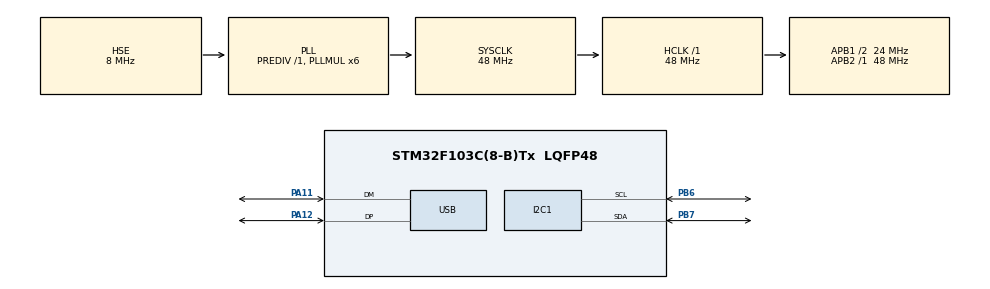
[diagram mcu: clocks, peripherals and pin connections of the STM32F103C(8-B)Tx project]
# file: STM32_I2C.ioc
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I2C1.I2C_Mode=I2C_Fast
Mcu.Family=STM32F1
Mcu.Name=STM32F103C(8-B)Tx
Mcu.Package=LQFP48
NVIC.PriorityGroup=NVIC_PRIORITYGROUP_4
NVIC.USB_LP_CAN1_RX0_IRQn=true\:0\:0\:false\:false\:true\:false\:true\:true
PA11.Mode=Device
PA11.Signal=USB_DM
PA12.Mode=Device
PA12.Signal=USB_DP
PB6.Mode=I2C
PB6.Signal=I2C1_SCL
PB7.Mode=I2C
PB7.Signal=I2C1_SDA
PD0-OSC_IN.Mode=HSE-External-Oscillator
PD0-OSC_IN.Signal=RCC_OSC_IN
PD1-OSC_OUT.Mode=HSE-External-Oscillator
PD1-OSC_OUT.Signal=RCC_OSC_OUT
ProjectManager.HeapSize=0x200
ProjectManager.StackSize=0x400
ProjectManager.TargetToolchain=STM32CubeIDE
RCC.AHBFreq_Value=48000000
RCC.APB1CLKDivider=RCC_HCLK_DIV2
RCC.APB1Freq_Value=24000000
RCC.APB1TimFreq_Value=48000000
RCC.APB2Freq_Value=48000000
RCC.APB2TimFreq_Value=48000000
RCC.HCLKFreq_Value=48000000
RCC.PLLMUL=RCC_PLL_MUL6
RCC.PLLSourceVirtual=RCC_PLLSOURCE_HSE
RCC.SYSCLKFreq_VALUE=48000000
RCC.SYSCLKSource=RCC_SYSCLKSOURCE_PLLCLK
RCC.USBFreq_Value=48000000
USB_DEVICE.CLASS_NAME_FS=CDC
USB_DEVICE.VirtualMode=Cdc
USB_DEVICE.VirtualModeFS=Cdc_FS
VP_SYS_VS_ND.Mode=No_Debug
VP_USB_DEVICE_VS_USB_DEVICE_CDC_FS.Mode=CDC_FS
board=custom

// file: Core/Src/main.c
/* USER CODE BEGIN Header */
/**
  ******************************************************************************
  * @file           : main.c
  * @brief          : Main program body
  ******************************************************************************
  * @attention
  *
  * Copyright (c) 2025 STMicroelectronics.
  * All rights reserved.
  *
  * This software is licensed under terms that can be found in the LICENSE file
  * in the root directory of this software component.
  * If no LICENSE file comes with this software, it is provided AS-IS.
  *
  ******************************************************************************
  */
/* USER CODE END Header */
#include "main.h"
#include "usb_device.h"

/* USER CODE BEGIN Includes */
#include <string.h>
#include <stdio.h>
#include <stdlib.h>
/* USER CODE END Includes */

/* USER CODE BEGIN PD */
#define slave_address 0x90 // ADDR pin -> GND -> Adres=1001000b << 1 -> 0x90
#define config_reg_address 0x01
#define conversion_reg_address 0x00
/* USER CODE END PD */

I2C_HandleTypeDef hi2c1;

void SystemClock_Config(void);
static void MX_GPIO_Init(void);
static void MX_I2C1_Init(void);

/* USER CODE BEGIN 0 */

float temperature_calc(int16_t raw) {
	float vin = (raw * 2.048) / 32768.0;
	float temp = (vin - 0.5) * 100;
	return temp;
}

float res_calc(int16_t raw) {
	float vin = (raw * 4.096) / 32768.0;
	float res = (vin / 3.3) * 10000.0;
	return res;
}
/* USER CODE END 0 */

int main(void)
{

  /* MCU Configuration--------------------------------------------------------*/

  /* Reset of all peripherals, Initializes the Flash interface and the Systick. */
  HAL_Init();

  /* Configure the system clock */
  SystemClock_Config();

  /* Initialize all configured peripherals */
  MX_GPIO_Init();
  MX_I2C1_Init();
  MX_USB_DEVICE_Init();
  /* USER CODE BEGIN 2 */
	uint8_t bufferTemp[2];
	uint8_t bufferPot[2];
	int16_t raw_temp = 0;
	int16_t raw_pot = 0;
	uint8_t a1_config[2] = {0xD5, 0x83}; // 1 101 010 1 100 00011 OS MUX PGA MODE DR COMP // AN1 2.048V Single shot
	uint8_t a3_config[2] = {0xF3, 0x83}; // 1 111 001 1 100 00011						  // AN3 4.096V Single shot
	char txt[50];

  /* USER CODE END 2 */

  /* Infinite loop */
  while (1)
  {

    /* USER CODE BEGIN 3 */

	HAL_I2C_Mem_Write(&hi2c1, slave_address, config_reg_address, I2C_MEMADD_SIZE_8BIT, a1_config, 2, HAL_TIMEOUT);
	HAL_Delay(10);
	HAL_I2C_Master_Transmit(&hi2c1, slave_address, conversion_reg_address, 1, HAL_TIMEOUT);
	HAL_I2C_Master_Receive(&hi2c1, slave_address, bufferTemp, 2, 100);
	raw_temp = (bufferTemp[0] << 8 | bufferTemp[1]);
	float temp_value = temperature_calc(raw_temp);

	HAL_I2C_Mem_Write(&hi2c1, slave_address, config_reg_address, I2C_MEMADD_SIZE_8BIT, a3_config, 2, HAL_TIMEOUT);
	HAL_Delay(10);
	HAL_I2C_Master_Transmit(&hi2c1, slave_address, conversion_reg_address, 1, HAL_TIMEOUT);
	HAL_I2C_Master_Receive(&hi2c1, slave_address, bufferPot, 2, 100);
	raw_pot = (bufferPot[0] << 8 | bufferPot[1]);
	float res_value = res_calc(raw_pot);

	sprintf(txt, "Temp: %.2f *C - Pot: %.2f ohm\r\n", temp_value, res_value);

	CDC_Transmit_FS(txt, strlen(txt));

	HAL_Delay(500);

  }
  /* USER CODE END 3 */
}

void SystemClock_Config(void)
{
  RCC_OscInitTypeDef RCC_OscInitStruct = {0};
  RCC_ClkInitTypeDef RCC_ClkInitStruct = {0};
  RCC_PeriphCLKInitTypeDef PeriphClkInit = {0};

  /** Initializes the RCC Oscillators according to the specified parameters
  * in the RCC_OscInitTypeDef structure.
  */
  RCC_OscInitStruct.OscillatorType = RCC_OSCILLATORTYPE_HSE;
  RCC_OscInitStruct.HSEState = RCC_HSE_ON;
  RCC_OscInitStruct.HSEPredivValue = RCC_HSE_PREDIV_DIV1;
  RCC_OscInitStruct.HSIState = RCC_HSI_ON;
  RCC_OscInitStruct.PLL.PLLState = RCC_PLL_ON;
  RCC_OscInitStruct.PLL.PLLSource = RCC_PLLSOURCE_HSE;
  RCC_OscInitStruct.PLL.PLLMUL = RCC_PLL_MUL6;
  if (HAL_RCC_OscConfig(&RCC_OscInitStruct) != HAL_OK)
  {
    Error_Handler();
  }

  /** Initializes the CPU, AHB and APB buses clocks
  */
  RCC_ClkInitStruct.ClockType = RCC_CLOCKTYPE_HCLK|RCC_CLOCKTYPE_SYSCLK
                              |RCC_CLOCKTYPE_PCLK1|RCC_CLOCKTYPE_PCLK2;
  RCC_ClkInitStruct.SYSCLKSource = RCC_SYSCLKSOURCE_PLLCLK;
  RCC_ClkInitStruct.AHBCLKDivider = RCC_SYSCLK_DIV1;
  RCC_ClkInitStruct.APB1CLKDivider = RCC_HCLK_DIV2;
  RCC_ClkInitStruct.APB2CLKDivider = RCC_HCLK_DIV1;

  if (HAL_RCC_ClockConfig(&RCC_ClkInitStruct, FLASH_LATENCY_1) != HAL_OK)
  {
    Error_Handler();
  }
  PeriphClkInit.PeriphClockSelection = RCC_PERIPHCLK_USB;
  PeriphClkInit.UsbClockSelection = RCC_USBCLKSOURCE_PLL;
  if (HAL_RCCEx_PeriphCLKConfig(&PeriphClkInit) != HAL_OK)
  {
    Error_Handler();
  }
}

static void MX_I2C1_Init(void)
{

  hi2c1.Instance = I2C1;
  hi2c1.Init.ClockSpeed = 400000;
  hi2c1.Init.DutyCycle = I2C_DUTYCYCLE_2;
  hi2c1.Init.OwnAddress1 = 0;
  hi2c1.Init.AddressingMode = I2C_ADDRESSINGMODE_7BIT;
  hi2c1.Init.DualAddressMode = I2C_DUALADDRESS_DISABLE;
  hi2c1.Init.OwnAddress2 = 0;
  hi2c1.Init.GeneralCallMode = I2C_GENERALCALL_DISABLE;
  hi2c1.Init.NoStretchMode = I2C_NOSTRETCH_DISABLE;
  if (HAL_I2C_Init(&hi2c1) != HAL_OK)
  {
    Error_Handler();
  }

}

static void MX_GPIO_Init(void)
{

  /* GPIO Ports Clock Enable */
  __HAL_RCC_GPIOD_CLK_ENABLE();
  __HAL_RCC_GPIOA_CLK_ENABLE();
  __HAL_RCC_GPIOB_CLK_ENABLE();

}

void Error_Handler(void)
{
  __disable_irq();
  while (1)
  {
  }
}
